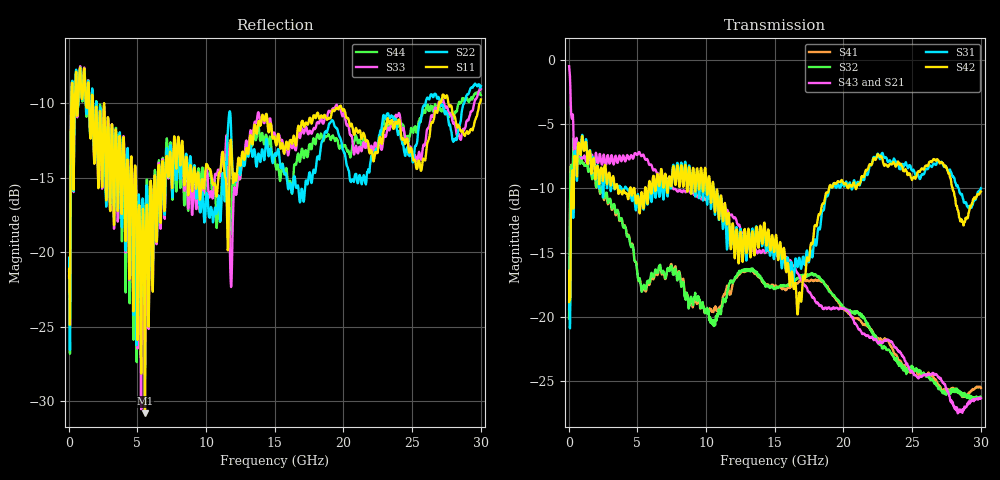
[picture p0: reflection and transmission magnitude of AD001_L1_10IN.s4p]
! MS46524B
! 1918203/M1: 91020113/M2: 91020112
! 9/9/2020 2:31:12 PM
! C:\USERS\ANRITSUUSER\DESKTOP\2118 -10.S4P
! CHANNEL.1
! TR.MEASUREMENT
! CORRECTED.DATA
# GHZ S RI R 50.0
! FREQ.GHZ  S11RE  S11IM  S12RE  S12IM  S13RE  S13IM  S14RE  S14IM
!  S21RE  S21IM  S22RE  S22IM  S23RE  S23IM  S24RE  S24IM
!  S31RE  S31IM  S32RE  S32IM  S33RE  S33IM  S34RE  S34IM
!  S41RE  S41IM  S42RE  S42IM  S43RE  S43IM  S44RE  S44IM
!; PortSelection: Port_1234
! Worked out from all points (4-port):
!   1000 points, 30 MHz to 30 GHz, reference 50 ohm
!   strongest paths, dB at 30 MHz, 7.53 GHz, 15.03 GHz, 22.53 GHz, 30 GHz:
!     S42: -18.8, -9.1, -14.2, -7.4, -10.3
!     S31: -19.4, -9.1, -14.3, -7.4, -10.0
!     S43: -0.5, -9.9, -15.0, -22.1, -26.3
!     S21: -0.5, -10.0, -15.1, -22.0, -26.8
!     S32: -20.1, -16.2, -17.8, -21.9, -26.3
!     S41: -20.1, -16.2, -17.6, -21.8, -25.5
!   lowest |S11| = -30.8 dB at 5.55 GHz (marker M1), VSWR 1.06, Z = 50 + j2.88 ohm
!   |S11| at or under -10 dB: 1.752 GHz to 2.58 GHz (827.6 MHz wide, 38.2 % of centre); 2.58 GHz to 26.96 GHz (24.38 GHz wide, 165 % of centre); 27.64 GHz to 29.93 GHz (2.289 GHz wide, 7.95 % of centre)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
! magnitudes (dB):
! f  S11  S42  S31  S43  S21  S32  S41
! 30 MHz  -21.7  -18.8  -19.4  -0.5  -0.5  -20.1  -20.1
! 270 MHz  -8.6  -8.6  -8.5  -4.4  -4.4  -8.9  -8.8
! 990 MHz  -9.7  -5.9  -5.8  -7.7  -7.7  -8.0  -8.0
! 5.55 GHz  -30.8  -10.1  -10.6  -7.7  -7.8  -17.8  -17.9
! 16.77 GHz  -11.7  -18.3  -15.4  -16.8  -16.8  -16.9  -17.2
! 22.5 GHz  -13.2  -7.4  -7.3  -22.0  -22.1  -21.9  -21.8
! 30 GHz  -9.8  -10.3  -10.0  -26.3  -26.8  -26.3  -25.5
